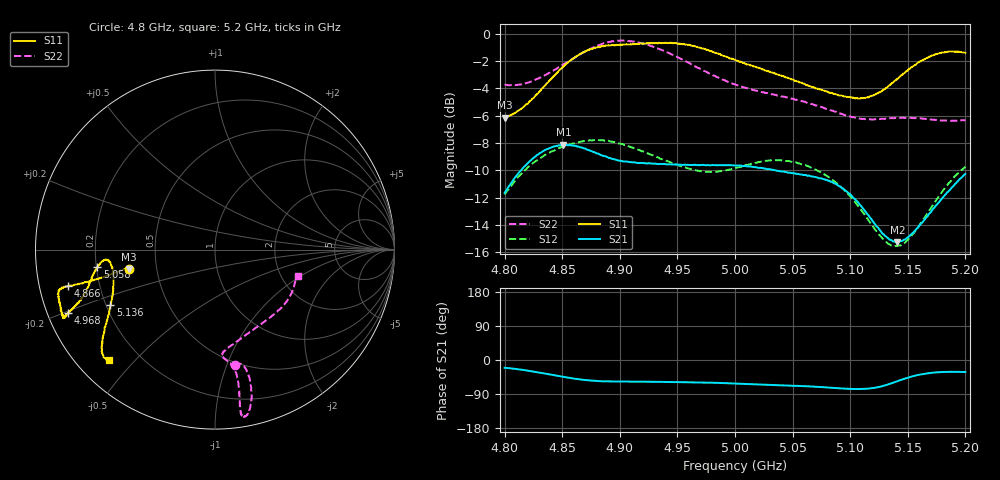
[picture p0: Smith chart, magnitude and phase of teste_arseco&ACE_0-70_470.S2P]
! Network Analyzer HP8722D
! Hewlett-Packard
! Data name: Linha & Wilkinson
! Saver's name: Rodrigo Anjos
! Comments: Teste da utilização de aquisição
! continua pelo VNA HP8722D
! Time and date: 8/5/2025 16:40
!  Frequency  S11  S21  S12  S22
# HZ  S  MA R 50
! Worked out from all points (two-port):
!   401 points, 4.8 GHz to 5.2 GHz, reference 50 ohm
!   highest |S21| = -8.11 dB at 4.851 GHz (marker M1); lowest = -15.3 dB at 5.141 GHz (marker M2)
!   |S21| within 3 dB of the highest: 4.804 GHz to 5.089 GHz (285.2 MHz wide, 5.76 % of centre); 5.190047 GHz to end of sweep
!   lowest |S11| = -6.1 dB at 4.8 GHz (marker M3), VSWR 2.95, Z = 17.1 - j4.87 ohm
!   |S11| at or under -10 dB: nowhere
!   |S22| runs from -6.4 to -0.5 dB; largest |S21 - S12| = 0.62
!   S11 on the Smith chart (normalised r, x): 4.8 GHz: 0.34, -0.10; 4.866 GHz: 0.08, -0.12; 4.968 GHz: 0.06, -0.21; 5.058 GHz: 0.20, -0.07; 5.136 GHz: 0.22, -0.24; 5.2 GHz: 0.09, -0.42
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4.8e9  0.4933 -167.4  0.2614 -20.6  0.2581 -141.7  0.6518 -80.2
4.826e9  0.5886 -166.8  0.3537 -31.1  0.3389 -145.9  0.677 -75.8
4.851e9  0.7596 -165.7  0.3932 -44.6  0.3864 -150.4  0.7736 -75.1
4.866e9  0.8459 -166.0  0.3837 -51.5  0.4028 -152.8  0.8427 -75.9
4.867e9  0.8492 -166.0  0.3831 -51.8  0.403 -152.9  0.849 -76.1
4.883e9  0.8973 -165.3  0.3606 -55.7  0.4076 -155.4  0.913 -77.8
4.899e9  0.9118 -163.0  0.3432 -56.9  0.3971 -157.2  0.944 -79.8
4.934e9  0.9283 -156.6  0.3332 -57.8  0.3514 -155.9  0.8803 -81.0
4.968e9  0.8936 -156.6  0.331 -59.3  0.3155 -147.8  0.7493 -80.1
5e9  0.8037 -159.4  0.3291 -62.2  0.322 -137.6  0.6523 -81.6
5.032e9  0.7222 -165.1  0.3177 -66.1  0.344 -134.9  0.6003 -85.7
5.058e9  0.6616 -171.8  0.3053 -68.8  0.3324 -137.0  0.5674 -84.6
5.067e9  0.639 -173.4  0.3003 -69.9  0.3224 -137.6  0.5529 -82.7
5.084e9  0.6082 -174.7  0.2869 -73.3  0.2931 -139.2  0.5232 -75.9
5.1e9  0.5855 -171.7  0.2583 -76.1  0.2541 -139.3  0.4987 -66.4
5.116e9  0.5853 -164.3  0.2159 -75.4  0.2075 -135.0  0.4862 -55.0
5.134e9  0.6468 -153.3  0.1765 -63.3  0.1694 -118.8  0.4908 -42.8
5.136e9  0.6587 -152.2  0.1752 -61.3  0.1673 -116.3  0.4914 -41.6
5.141e9  0.6847 -149.4  0.1724 -55.8  0.1669 -109.6  0.4922 -38.9
5.153e9  0.7542 -144.7  0.1843 -43.9  0.1815 -94.8  0.4926 -32.6
5.17e9  0.8295 -139.5  0.2222 -34.0  0.23 -82.0  0.4858 -25.3
5.2e9  0.8512 -133.7  0.3069 -31.9  0.3261 -77.6  0.4832 -17.7
